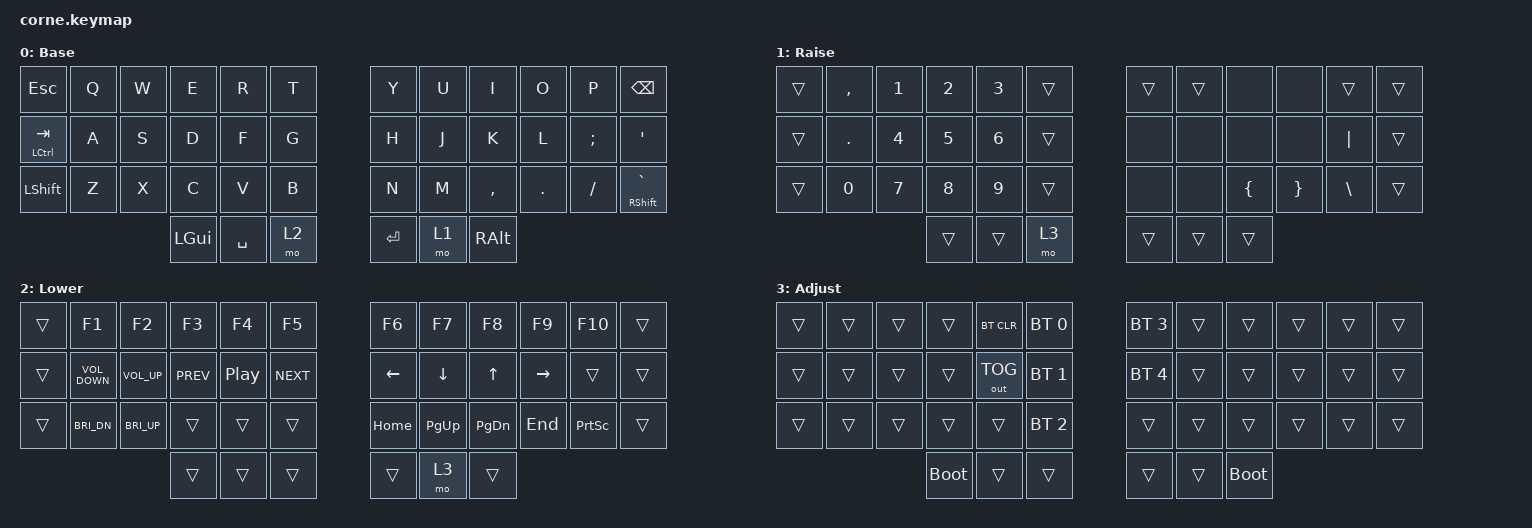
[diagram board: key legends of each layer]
/*
 * Copyright (c) 2020 The ZMK Contributors
 *
 * SPDX-License-Identifier: MIT
 */

#include <behaviors.dtsi>
#include <dt-bindings/zmk/bt.h>
#include <dt-bindings/zmk/keys.h>
#include <dt-bindings/zmk/outputs.h>

// dt-formatter: indent = "  "
// dt-formatter: reindentMultilineIntegerCells = "dedent"
/*               KEY POSITIONS

  ╭───────────────────╮ ╭───────────────────╮
  │ 00 01 02 03 04 05 │ │ 06 07 08 09 10 11 │
  │ 12 13 14 15 16 17 │ │ 18 19 20 21 22 23 │
  │ 24 25 26 27 28 29 │ │ 30 31 32 33 34 35 │
  ╰───────╮  36 37 38 │ │ 39 40 41  ╭───────╯
          ╰───────────╯ ╰───────────╯ */

&soft_off {
  hold-time-ms = <5000>; // Only turn off it the key is held for 5 seconds or longer.
};

/ {
  behaviors {
    hm: homerow_mods {
      compatible = "zmk,behavior-hold-tap";
      label = "HOMEROW_MODS";
      #binding-cells = <2>;
      tapping-term-ms = <150>;
      quick-tap-ms = <0>;
      flavor = "tap-preferred";
      bindings = <&kp>, <&kp>;
    };
  };

  combos {
    compatible = "zmk,combos";

    horijontal {
      bindings = <&kp MINUS>;
      key-positions = <19 20>;
      layers = <0>;
    };

    equal {
      bindings = <&kp EQUAL>;
      key-positions = <31 32>;
      layers = <0>;
    };

    cmd {
      bindings = <&kp EXCLAMATION>;
      key-positions = <2 14>;
      layers = <0>;
    };

    macro {
      bindings = <&kp AT_SIGN>;
      key-positions = <2 3>;
      layers = <0>;
    };

    end {
      bindings = <&kp DOLLAR>;
      key-positions = <13 14>;
      layers = <0>;
    };

    match {
      bindings = <&kp PERCENT>;
      key-positions = <14 15>;
      layers = <0>;
    };

    start {
      bindings = <&kp CARET>;
      key-positions = <15 16>;
      layers = <0>;
    };

    exact {
      bindings = <&kp ASTERISK>;
      key-positions = <26 27>;
      layers = <0>;
    };

    delete {
      bindings = <&kp DELETE>;
      key-positions = <10 11>;
      layers = <0>;
    };

    and {
      bindings = <&kp AMPS>;
      key-positions = <26 14>;
      layers = <0>;
    };

    lpar {
      bindings = <&kp LPAR>;
      key-positions = <8 20>;
      layers = <0>;
    };

    rpar {
      bindings = <&kp RPAR>;
      key-positions = <9 21>;
      layers = <0>;
    };

    lbrack {
      bindings = <&kp LBKT>;
      key-positions = <20 32>;
      layers = <0>;
    };

    rbrack {
      bindings = <&kp RBKT>;
      key-positions = <21 33>;
      layers = <0>;
    };

    lbrace {
      bindings = <&kp LBRC>;
      key-positions = <7 19>;
      layers = <0>;
    };

    rbrace {
      bindings = <&kp RBRC>;
      key-positions = <19 31>;
      layers = <0>;
    };

    pipe {
      bindings = <&kp PIPE>;
      key-positions = <10 22>;
      layers = <0>;
    };

    bslash {
      bindings = <&kp BSLH>;
      key-positions = <22 34>;
      layers = <0>;
    };
  };

  macros {
    zed_em_kay: zed_em_kay {
      compatible = "zmk,behavior-macro";
      label = "ZM_zed_em_kay";
      #binding-cells = <0>;
      bindings =
        <&macro_press>,
        <&kp LSHFT>,
        <&macro_tap>,
        <&kp Z &kp M &kp K>,
        <&macro_release>,
        <&kp LSHFT>;
    };
  };

  keymap {
    compatible = "zmk,keymap";

    Base {
      bindings = <
&kp ESC        &kp Q  &kp W  &kp E     &kp R      &kp T    &kp Y      &kp U  &kp I      &kp O    &kp P     &kp BACKSPACE
&mt LCTRL TAB  &kp A  &kp S  &kp D     &kp F      &kp G    &kp H      &kp J  &kp K      &kp L    &kp SEMI  &kp SQT
&kp LSHIFT     &kp Z  &kp X  &kp C     &kp V      &kp B    &kp N      &kp M  &kp COMMA  &kp DOT  &kp FSLH  &mt RSHIFT GRAVE
                             &kp LGUI  &kp SPACE  &mo 2    &kp ENTER  &mo 1  &kp RALT
      >;

      label = "Base";
    };

    Raise {
      bindings = <
&trans  &kp COMMA     &kp NUMBER_1  &kp NUMBER_2  &kp NUMBER_3  &trans    &trans  &trans  &none           &none            &trans         &trans
&trans  &kp PERIOD    &kp NUMBER_4  &kp NUMBER_5  &kp NUMBER_6  &trans    &none   &none   &none           &none            &kp PIPE       &trans
&trans  &kp NUMBER_0  &kp NUMBER_7  &kp NUMBER_8  &kp NUMBER_9  &trans    &none   &none   &kp LEFT_BRACE  &kp RIGHT_BRACE  &kp BACKSLASH  &trans
                                    &trans        &trans        &mo 3     &trans  &trans  &trans
      >;

      label = "Raise";
    };

    Lower {
      bindings = <
&trans  &kp F1             &kp F2        &kp F3      &kp F4    &kp F5        &kp F6          &kp F7          &kp F8         &kp F9           &kp F10          &trans
&trans  &kp C_VOLUME_DOWN  &kp C_VOL_UP  &kp C_PREV  &kp C_PP  &kp C_NEXT    &kp LEFT_ARROW  &kp DOWN_ARROW  &kp UP_ARROW   &kp RIGHT_ARROW  &trans           &trans
&trans  &kp C_BRI_DN       &kp C_BRI_UP  &trans      &trans    &trans        &kp HOME        &kp PG_UP       &kp PAGE_DOWN  &kp END          &kp PRINTSCREEN  &trans
                                         &trans      &trans    &trans        &trans          &mo 3           &trans
      >;

      label = "Lower";
    };

    Adjust {
      bindings = <
&trans  &trans  &trans  &trans       &bt BT_CLR    &bt BT_SEL 0    &bt BT_SEL 3  &trans  &trans       &trans  &trans  &trans
&trans  &trans  &trans  &trans       &out OUT_TOG  &bt BT_SEL 1    &bt BT_SEL 4  &trans  &trans       &trans  &trans  &trans
&trans  &trans  &trans  &trans       &trans        &bt BT_SEL 2    &trans        &trans  &trans       &trans  &trans  &trans
                        &bootloader  &trans        &trans          &trans        &trans  &bootloader
      >;

      label = "Adjust";
    };
  };

  conditional_layers { compatible = "zmk,conditional-layers"; };
};
